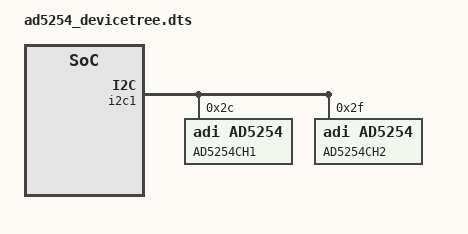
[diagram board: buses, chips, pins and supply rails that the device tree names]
&i2c1 {
    ad5254: ad5254@2C {
        compatible = "adi,ad5254";
        reg = <0x2C>; // I2C address
        label = "AD5254CH1";
    };
    ad5254: ad5254@2F {
        compatible = "adi,ad5254";
        reg = <0x2F>; // I2C address
        label = "AD5254CH2";
    };
};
